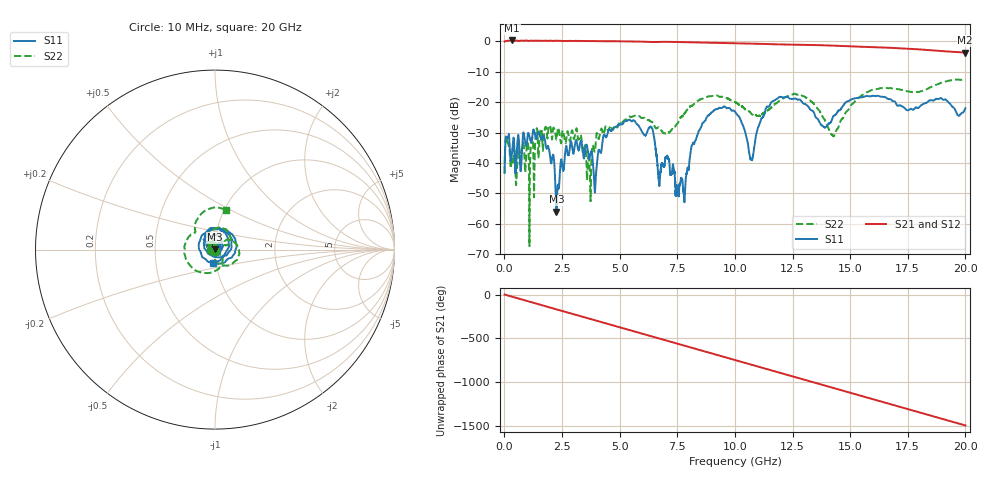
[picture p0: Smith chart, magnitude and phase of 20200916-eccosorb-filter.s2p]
!Agilent Technologies,E8363B,MY43030648,A.07.50.48
!Agilent E8363B: A.07.50.48
!Date: Wednesday, September 16, 2020 08:10:19
!Correction: S11(Full 2 Port(1,2))
!S21(Full 2 Port(1,2))
!S12(Full 2 Port(1,2))
!S22(Full 2 Port(1,2))
!S2P File: Measurements: S11, S21, S12, S22:
# Hz S  dB  R 50
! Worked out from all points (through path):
!   20001 points, 10 MHz to 20 GHz, reference 50 ohm
!   highest |S21| = 0.31 dB at 341.8 MHz (marker M1); lowest = -3.7 dB at 20 GHz (marker M2)
!   group delay of S21, straight-line fit = 208 ps
!   lowest |S11| = -56.0 dB at 2.261 GHz (marker M3), VSWR 1.00, Z = 50 + j0.156 ohm
!   |S11| at or under -10 dB: start of sweep to end of sweep
!   |S22| runs from -67.4 to -12.5 dB; largest |S21 - S12| = 0.0046
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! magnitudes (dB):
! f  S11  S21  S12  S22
! 10 MHz  -43.1  0.0  0.0  -43.5
! 341.8 MHz  -35.8  0.3  0.3  -38.7
! 1.667 GHz  -31.2  0.2  0.2  -35.9
! 2.261 GHz  -56.0  0.2  0.2  -32.3
! 2.703 GHz  -34.8  0.1  0.1  -30.8
! 3.342 GHz  -32.9  0.1  0.1  -31.8
! 3.667 GHz  -38.5  0.1  0.1  -38.5
! 3.936 GHz  -48.9  0.1  0.1  -35.7
! 4.357 GHz  -30.9  0.1  0.0  -28.9
! 5.581 GHz  -25.9  0.0  0.0  -24.6
! 6.391 GHz  -28.3  -0.2  -0.2  -26.5
! 6.674 GHz  -43.2  -0.2  -0.2  -28.3
! 7.786 GHz  -50.6  -0.2  -0.3  -24.0
! 8.749 GHz  -25.4  -0.4  -0.4  -18.3
! 10.01 GHz  -23.0  -0.6  -0.6  -20.0
! 10.71 GHz  -38.5  -0.7  -0.7  -23.8
! 11.64 GHz  -19.6  -0.9  -0.9  -21.2
! 13.34 GHz  -22.7  -1.2  -1.2  -19.9
! 14.26 GHz  -24.8  -1.4  -1.4  -31.1
! 16.67 GHz  -19.0  -2.1  -2.1  -15.4
! 20 GHz  -22.1  -3.7  -3.6  -12.8
! 20 GHz  -22.0  -3.7  -3.7  -12.8
